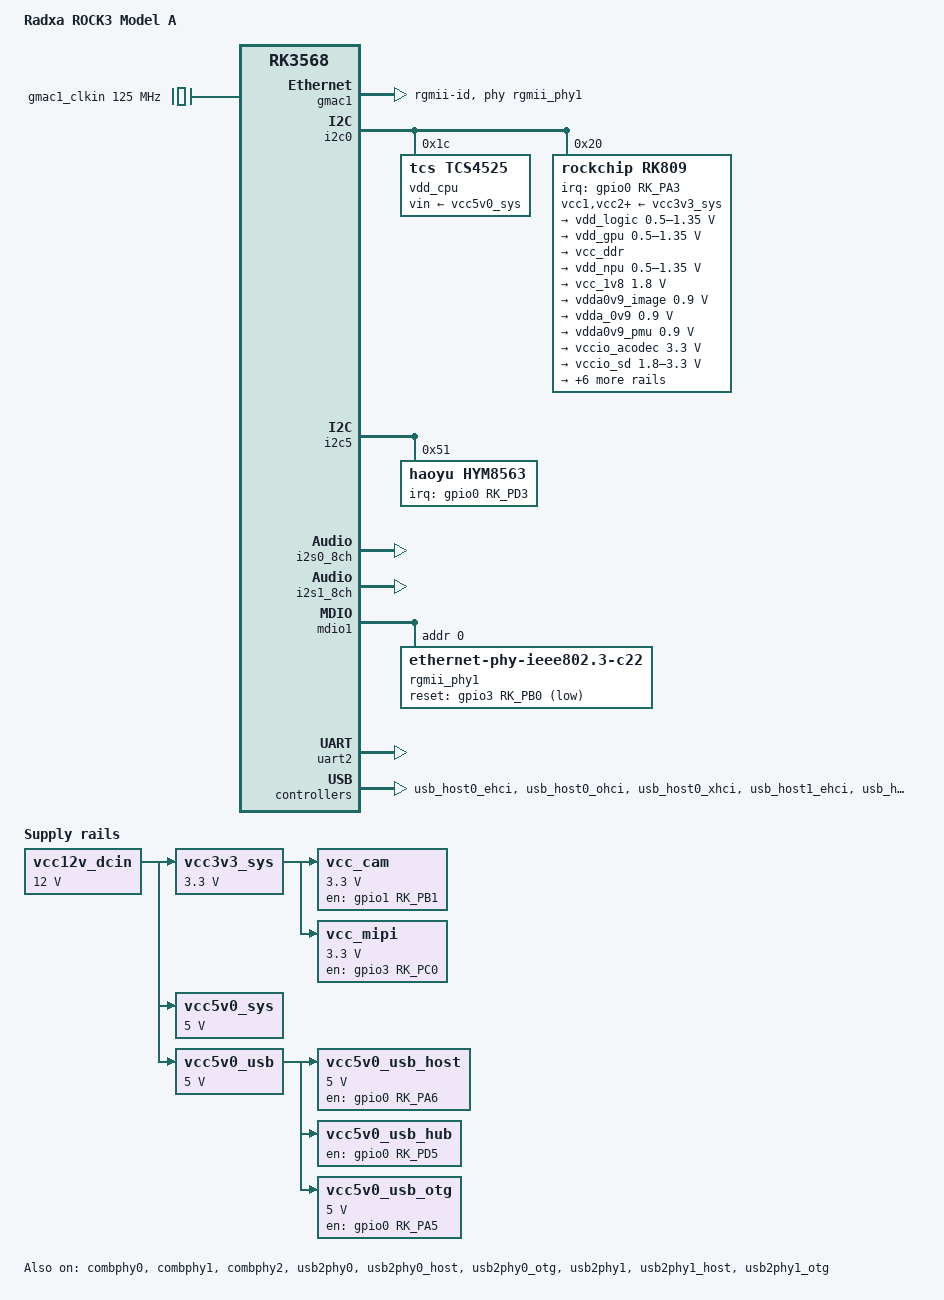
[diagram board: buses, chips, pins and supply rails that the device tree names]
// SPDX-License-Identifier: (GPL-2.0+ OR MIT)
/*
 * Copyright (c) 2021 Rockchip Electronics Co., Ltd.
 * Copyright (c) 2023 Akash Gajjar <gajjar04akash@gmail.com>
 */

/dts-v1/;
#include <dt-bindings/gpio/gpio.h>
#include <dt-bindings/pinctrl/rockchip.h>
#include "rk3568.dtsi"

/ {
	model = "Radxa ROCK3 Model A";
	compatible = "radxa,rock3a", "rockchip,rk3568";

	chosen: chosen {
		stdout-path = "serial2:1500000n8";
	};

	gmac1_clkin: external-gmac1-clock {
		compatible = "fixed-clock";
		clock-frequency = <125000000>;
		clock-output-names = "gmac1_clkin";
		#clock-cells = <0>;
	};

	vcc12v_dcin: vcc12v-dcin-regulator {
		compatible = "regulator-fixed";
		regulator-name = "vcc12v_dcin";
		regulator-always-on;
		regulator-boot-on;
		regulator-min-microvolt = <12000000>;
		regulator-max-microvolt = <12000000>;
	};

	vcc3v3_sys: vcc3v3-sys-regulator {
		compatible = "regulator-fixed";
		regulator-name = "vcc3v3_sys";
		regulator-always-on;
		regulator-boot-on;
		regulator-min-microvolt = <3300000>;
		regulator-max-microvolt = <3300000>;
		vin-supply = <&vcc12v_dcin>;
	};

	vcc5v0_sys: vcc5v0-sys-regulator {
		compatible = "regulator-fixed";
		regulator-name = "vcc5v0_sys";
		regulator-always-on;
		regulator-boot-on;
		regulator-min-microvolt = <5000000>;
		regulator-max-microvolt = <5000000>;
		vin-supply = <&vcc12v_dcin>;
	};

	vcc5v0_usb: vcc5v0-usb-regulator {
		compatible = "regulator-fixed";
		regulator-name = "vcc5v0_usb";
		regulator-always-on;
		regulator-boot-on;
		regulator-min-microvolt = <5000000>;
		regulator-max-microvolt = <5000000>;
		vin-supply = <&vcc12v_dcin>;
	};

	vcc5v0_usb_host: vcc5v0-usb-host-regulator {
		compatible = "regulator-fixed";
		enable-active-high;
		gpio = <&gpio0 RK_PA6 GPIO_ACTIVE_HIGH>;
		pinctrl-names = "default";
		pinctrl-0 = <&vcc5v0_usb_host_en>;
		regulator-name = "vcc5v0_usb_host";
		regulator-min-microvolt = <5000000>;
		regulator-max-microvolt = <5000000>;
		vin-supply = <&vcc5v0_usb>;
	};

	vcc5v0_usb_hub: vcc5v0-usb-hub-regulator {
		compatible = "regulator-fixed";
		enable-active-high;
		gpio = <&gpio0 RK_PD5 GPIO_ACTIVE_HIGH>;
		pinctrl-names = "default";
		pinctrl-0 = <&vcc5v0_usb_hub_en>;
		regulator-name = "vcc5v0_usb_hub";
		regulator-always-on;
		vin-supply = <&vcc5v0_usb>;
	};

	vcc5v0_usb_otg: vcc5v0-usb-otg-regulator {
		compatible = "regulator-fixed";
		enable-active-high;
		gpio = <&gpio0 RK_PA5 GPIO_ACTIVE_HIGH>;
		pinctrl-names = "default";
		regulator-name = "vcc5v0_usb_otg";
		regulator-min-microvolt = <5000000>;
		regulator-max-microvolt = <5000000>;
		vin-supply = <&vcc5v0_usb>;
	};

	vcc_cam: vcc-cam-regulator {
		compatible = "regulator-fixed";
		enable-active-high;
		gpio = <&gpio1 RK_PB1 GPIO_ACTIVE_HIGH>;
		pinctrl-names = "default";
		pinctrl-0 = <&vcc_cam_en>;
		regulator-name = "vcc_cam";
		regulator-min-microvolt = <3300000>;
		regulator-max-microvolt = <3300000>;
		vin-supply = <&vcc3v3_sys>;

		regulator-state-mem {
			regulator-off-in-suspend;
		};
	};

	vcc_mipi: vcc-mipi-regulator {
		compatible = "regulator-fixed";
		enable-active-high;
		gpio = <&gpio3 RK_PC0 GPIO_ACTIVE_HIGH>;
		pinctrl-names = "default";
		pinctrl-0 = <&vcc_mipi_en>;
		regulator-name = "vcc_mipi";
		regulator-min-microvolt = <3300000>;
		regulator-max-microvolt = <3300000>;
		vin-supply = <&vcc3v3_sys>;

		regulator-state-mem {
			regulator-off-in-suspend;
		};
	};
};

&combphy0 {
	status = "okay";
};

&combphy1 {
	status = "okay";
};

&combphy2 {
	status = "okay";
};

&cpu0 {
	cpu-supply = <&vdd_cpu>;
};

&cpu1 {
	cpu-supply = <&vdd_cpu>;
};

&cpu2 {
	cpu-supply = <&vdd_cpu>;
};

&cpu3 {
	cpu-supply = <&vdd_cpu>;
};

&gmac1 {
	assigned-clocks = <&cru SCLK_GMAC1_RX_TX>, <&cru SCLK_GMAC1>;
	assigned-clock-parents = <&cru SCLK_GMAC1_RGMII_SPEED>, <&gmac1_clkin>;
	clock_in_out = "input";
	phy-handle = <&rgmii_phy1>;
	phy-mode = "rgmii-id";
	pinctrl-names = "default";
	status = "okay";
};

&i2c0 {
	status = "okay";

	vdd_cpu: regulator@1c {
		compatible = "tcs,tcs4525";
		reg = <0x1c>;
		fcs,suspend-voltage-selector = <1>;
		regulator-name = "vdd_cpu";
		regulator-always-on;
		regulator-boot-on;
		regulator-min-microvolt = <800000>;
		regulator-max-microvolt = <1150000>;
		regulator-ramp-delay = <2300>;
		vin-supply = <&vcc5v0_sys>;

		regulator-state-mem {
			regulator-off-in-suspend;
		};
	};

	rk809: pmic@20 {
		compatible = "rockchip,rk809";
		reg = <0x20>;
		interrupt-parent = <&gpio0>;
		interrupts = <RK_PA3 IRQ_TYPE_LEVEL_LOW>;
		assigned-clocks = <&cru I2S1_MCLKOUT_TX>;
		assigned-clock-parents = <&cru CLK_I2S1_8CH_TX>;
		#clock-cells = <1>;
		clock-names = "mclk";
		clocks = <&cru I2S1_MCLKOUT_TX>;
		pinctrl-names = "default";
		pinctrl-0 = <&pmic_int>, <&i2s1m0_mclk>;
		rockchip,system-power-controller;
		#sound-dai-cells = <0>;
		vcc1-supply = <&vcc3v3_sys>;
		vcc2-supply = <&vcc3v3_sys>;
		vcc3-supply = <&vcc3v3_sys>;
		vcc4-supply = <&vcc3v3_sys>;
		vcc5-supply = <&vcc3v3_sys>;
		vcc6-supply = <&vcc3v3_sys>;
		vcc7-supply = <&vcc3v3_sys>;
		vcc8-supply = <&vcc3v3_sys>;
		vcc9-supply = <&vcc3v3_sys>;
		wakeup-source;

		regulators {
			vdd_logic: DCDC_REG1 {
				regulator-name = "vdd_logic";
				regulator-always-on;
				regulator-boot-on;
				regulator-init-microvolt = <900000>;
				regulator-initial-mode = <0x2>;
				regulator-min-microvolt = <500000>;
				regulator-max-microvolt = <1350000>;
				regulator-ramp-delay = <6001>;

				regulator-state-mem {
					regulator-off-in-suspend;
				};
			};

			vdd_gpu: DCDC_REG2 {
				regulator-name = "vdd_gpu";
				regulator-always-on;
				regulator-init-microvolt = <900000>;
				regulator-initial-mode = <0x2>;
				regulator-min-microvolt = <500000>;
				regulator-max-microvolt = <1350000>;
				regulator-ramp-delay = <6001>;

				regulator-state-mem {
					regulator-off-in-suspend;
				};
			};

			vcc_ddr: DCDC_REG3 {
				regulator-name = "vcc_ddr";
				regulator-always-on;
				regulator-boot-on;
				regulator-initial-mode = <0x2>;

				regulator-state-mem {
					regulator-on-in-suspend;
				};
			};

			vdd_npu: DCDC_REG4 {
				regulator-name = "vdd_npu";
				regulator-init-microvolt = <900000>;
				regulator-initial-mode = <0x2>;
				regulator-min-microvolt = <500000>;
				regulator-max-microvolt = <1350000>;
				regulator-ramp-delay = <6001>;

				regulator-state-mem {
					regulator-off-in-suspend;
				};
			};

			vcc_1v8: DCDC_REG5 {
				regulator-name = "vcc_1v8";
				regulator-always-on;
				regulator-boot-on;
				regulator-min-microvolt = <1800000>;
				regulator-max-microvolt = <1800000>;

				regulator-state-mem {
					regulator-off-in-suspend;
				};
			};

			vdda0v9_image: LDO_REG1 {
				regulator-name = "vdda0v9_image";
				regulator-min-microvolt = <900000>;
				regulator-max-microvolt = <900000>;

				regulator-state-mem {
					regulator-off-in-suspend;
				};
			};

			vdda_0v9: LDO_REG2 {
				regulator-name = "vdda_0v9";
				regulator-always-on;
				regulator-boot-on;
				regulator-min-microvolt = <900000>;
				regulator-max-microvolt = <900000>;

				regulator-state-mem {
					regulator-off-in-suspend;
				};
			};

			vdda0v9_pmu: LDO_REG3 {
				regulator-name = "vdda0v9_pmu";
				regulator-always-on;
				regulator-boot-on;
				regulator-min-microvolt = <900000>;
				regulator-max-microvolt = <900000>;

				regulator-state-mem {
					regulator-on-in-suspend;
					regulator-suspend-microvolt = <900000>;
				};
			};

			vccio_acodec: LDO_REG4 {
				regulator-name = "vccio_acodec";
				regulator-always-on;
				regulator-min-microvolt = <3300000>;
				regulator-max-microvolt = <3300000>;

				regulator-state-mem {
					regulator-off-in-suspend;
				};
			};

			vccio_sd: LDO_REG5 {
				regulator-name = "vccio_sd";
				regulator-min-microvolt = <1800000>;
				regulator-max-microvolt = <3300000>;

				regulator-state-mem {
					regulator-off-in-suspend;
				};
			};

			vcc3v3_pmu: LDO_REG6 {
				regulator-name = "vcc3v3_pmu";
				regulator-always-on;
				regulator-boot-on;
				regulator-min-microvolt = <3300000>;
				regulator-max-microvolt = <3300000>;

				regulator-state-mem {
					regulator-on-in-suspend;
					regulator-suspend-microvolt = <3300000>;
				};
			};

			vcca_1v8: LDO_REG7 {
				regulator-name = "vcca_1v8";
				regulator-always-on;
				regulator-boot-on;
				regulator-min-microvolt = <1800000>;
				regulator-max-microvolt = <1800000>;

				regulator-state-mem {
					regulator-off-in-suspend;
				};
			};

			vcca1v8_pmu: LDO_REG8 {
				regulator-name = "vcca1v8_pmu";
				regulator-always-on;
				regulator-boot-on;
				regulator-min-microvolt = <1800000>;
				regulator-max-microvolt = <1800000>;

				regulator-state-mem {
					regulator-on-in-suspend;
					regulator-suspend-microvolt = <1800000>;
				};
			};

			vcca1v8_image: LDO_REG9 {
				regulator-name = "vcca1v8_image";
				regulator-min-microvolt = <1800000>;
				regulator-max-microvolt = <1800000>;

				regulator-state-mem {
					regulator-off-in-suspend;
				};
			};

			vcc_3v3: SWITCH_REG1 {
				regulator-name = "vcc_3v3";
				regulator-always-on;
				regulator-boot-on;

				regulator-state-mem {
					regulator-off-in-suspend;
				};
			};

			vcc3v3_sd: SWITCH_REG2 {
				regulator-name = "vcc3v3_sd";

				regulator-state-mem {
					regulator-off-in-suspend;
				};
			};
		};

		codec {
			mic-in-differential;
		};
	};
};

&i2c3 {
	pinctrl-names = "default";
	pinctrl-0 = <&i2c3m1_xfer>;
	status = "disabled";
};

&i2c4 {
	pinctrl-names = "default";
	pinctrl-0 = <&i2c4m1_xfer>;
	status = "disabled";
};

&i2c5 {
	status = "okay";

	hym8563: rtc@51 {
		compatible = "haoyu,hym8563";
		reg = <0x51>;
		interrupt-parent = <&gpio0>;
		interrupts = <RK_PD3 IRQ_TYPE_LEVEL_LOW>;
		#clock-cells = <0>;
		clock-output-names = "rtcic_32kout";
		pinctrl-names = "default";
		pinctrl-0 = <&hym8563_int>;
		wakeup-source;
	};
};

&i2s0_8ch {
	status = "okay";
};

&i2s1_8ch {
	rockchip,trcm-sync-tx-only;
	status = "okay";
};

&mdio1 {
	rgmii_phy1: ethernet-phy@0 {
		compatible = "ethernet-phy-ieee802.3-c22";
		reg = <0x0>;
		pinctrl-names = "default";
		pinctrl-0 = <&eth_phy_rst>;
		reset-assert-us = <20000>;
		reset-deassert-us = <100000>;
		reset-gpios = <&gpio3 RK_PB0 GPIO_ACTIVE_LOW>;
	};
};

&pinctrl {
	cam {
		vcc_cam_en: vcc_cam_en {
			rockchip,pins = <1 RK_PB1 RK_FUNC_GPIO &pcfg_pull_none>;
		};
	};

	display {
		vcc_mipi_en: vcc_mipi_en {
			rockchip,pins = <3 RK_PC0 RK_FUNC_GPIO &pcfg_pull_none>;
		};
	};

	ethernet {
		eth_phy_rst: eth_phy_rst {
			rockchip,pins = <3 RK_PB0 RK_FUNC_GPIO &pcfg_pull_none>;
		};
	};

	hym8563 {
		hym8563_int: hym8563-int {
			rockchip,pins = <0 RK_PD3 RK_FUNC_GPIO &pcfg_pull_up>;
		};
	};

	leds {
		led_user_en: led_user_en {
			rockchip,pins = <0 RK_PB7 RK_FUNC_GPIO &pcfg_pull_none>;
		};
	};

	pcie {
		pcie_enable_h: pcie-enable-h {
			rockchip,pins = <0 RK_PD4 RK_FUNC_GPIO &pcfg_pull_none>;
		};

		pcie_reset_h: pcie-reset-h {
			rockchip,pins = <3 RK_PC1 RK_FUNC_GPIO &pcfg_pull_none>;
		};
	};

	pmic {
		pmic_int: pmic_int {
			rockchip,pins =
				<0 RK_PA3 RK_FUNC_GPIO &pcfg_pull_up>;
		};
	};

	usb {
		vcc5v0_usb_host_en: vcc5v0_usb_host_en {
			rockchip,pins = <0 RK_PA6 RK_FUNC_GPIO &pcfg_pull_none>;
		};
		vcc5v0_usb_hub_en: vcc5v0_usb_hub_en {
			rockchip,pins = <0 RK_PD5 RK_FUNC_GPIO &pcfg_pull_none>;
		};
		vcc5v0_usb_otg_en: vcc5v0_usb_otg_en {
			rockchip,pins = <0 RK_PA5 RK_FUNC_GPIO &pcfg_pull_none>;
		};
	};

	bt {
		bt_enable: bt-enable {
			rockchip,pins = <4 RK_PB2 RK_FUNC_GPIO &pcfg_pull_none>;
		};

		bt_host_wake: bt-host-wake {
			rockchip,pins = <4 RK_PB4 RK_FUNC_GPIO &pcfg_pull_down>;
		};

		bt_wake: bt-wake {
			rockchip,pins = <4 RK_PB5 RK_FUNC_GPIO &pcfg_pull_none>;
		};
	};

	sdio-pwrseq {
		wifi_enable: wifi-enable {
			rockchip,pins = <3 RK_PD4 RK_FUNC_GPIO &pcfg_pull_none>;
		};
	};
};

&pmu_io_domains {
	pmuio1-supply = <&vcc3v3_pmu>;
	pmuio2-supply = <&vcc3v3_pmu>;
	vccio1-supply = <&vccio_acodec>;
	vccio2-supply = <&vcc_1v8>;
	vccio3-supply = <&vccio_sd>;
	vccio4-supply = <&vcc_1v8>;
	vccio5-supply = <&vcc_3v3>;
	vccio6-supply = <&vcc_1v8>;
	vccio7-supply = <&vcc_3v3>;
	status = "okay";
};

&uart2 {
	status = "okay";
};

&usb_host0_ehci {
	status = "okay";
};

&usb_host0_ohci {
	status = "okay";
};

&usb_host0_xhci {
	extcon = <&usb2phy0>;
	status = "okay";
};

&usb_host1_ehci {
	status = "okay";
};

&usb_host1_ohci {
	status = "okay";
};

&usb_host1_xhci {
	status = "okay";
};

&usb2phy0 {
	status = "okay";
};

&usb2phy0_host {
	phy-supply = <&vcc5v0_usb_host>;
	status = "okay";
};

&usb2phy0_otg {
	phy-supply = <&vcc5v0_usb_otg>;
	status = "okay";
};

&usb2phy1 {
	status = "okay";
};

&usb2phy1_host {
	phy-supply = <&vcc5v0_usb_host>;
	status = "okay";
};

&usb2phy1_otg {
	phy-supply = <&vcc5v0_usb_host>;
	status = "okay";
};
